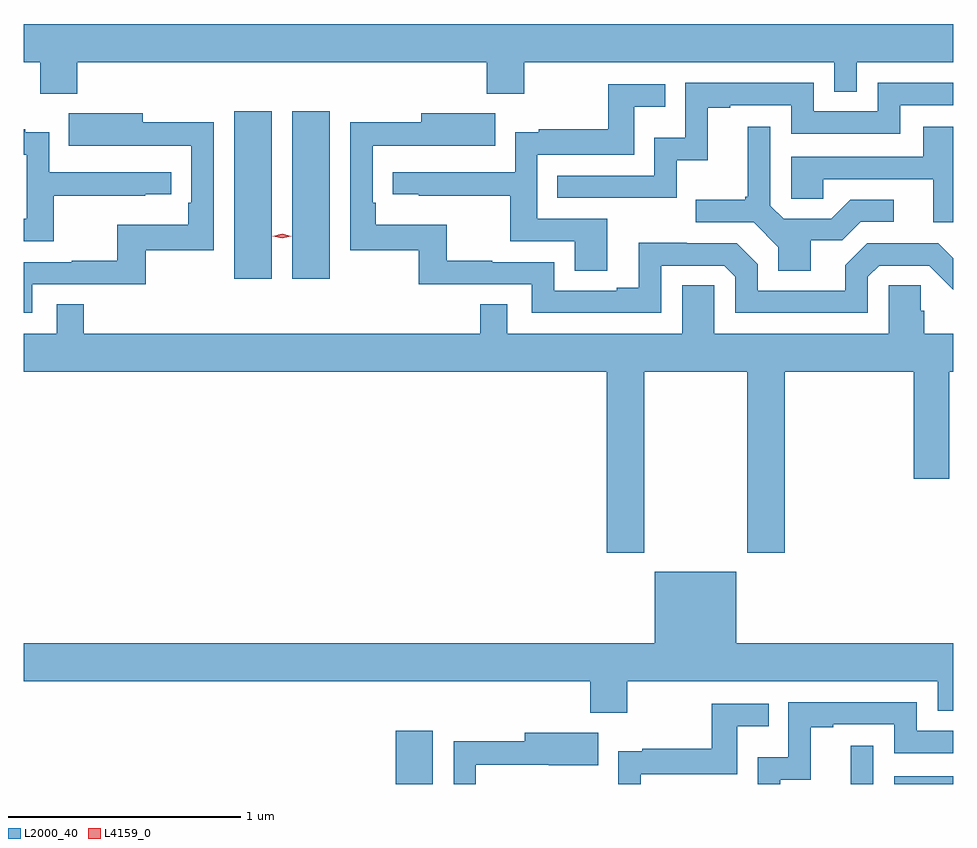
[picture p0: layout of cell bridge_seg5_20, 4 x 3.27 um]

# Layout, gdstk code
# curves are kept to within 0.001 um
import gdstk
lib = gdstk.Library(unit=1e-6, precision=1e-09)
def R(c, l, rs):  # rectangles x0, y0, x1, y1
    for r in rs: c.add(gdstk.rectangle(r[:2], r[2:], *l))
def P(c, l, *ps):  # polygons
    for p in ps: c.add(gdstk.Polygon(p, *l))
L2000_40 = (2000, 40)
L4159_0 = (4159, 0)

bridge_seg5_20 = lib.new_cell('bridge_seg5_20')
R(bridge_seg5_20, L2000_40, [(1109.078,882.959,1109.239,883.189), (1111.037,882.959,1111.134,883.123), (1111.224,882.959,1111.478,882.993), (1108.385,885.132,1108.546,885.853), (1108.634,885.132,1108.795,885.853)])
P(bridge_seg5_20, L2000_40, [(1107.71,886.064),(1109.471,886.064),(1109.471,885.929),(1109.631,885.929),(1109.631,886.064),(1110.966,886.064),(1110.966,885.937),(1111.062,885.937),(1111.062,886.064),(1111.478,886.064),(1111.478,886.228),(1107.478,886.228),(1107.478,886.064),(1107.55,886.064),(1107.55,885.929),(1107.71,885.929)],
  [(1110.288,885.641),(1110.421,885.641),(1110.421,885.867),(1110.517,885.867),(1110.517,885.879),(1110.78,885.879),(1110.78,885.756),(1111.248,885.756),(1111.248,885.879),(1111.478,885.879),(1111.478,885.975),(1111.152,885.975),(1111.152,885.852),(1110.876,885.852),(1110.876,885.975),(1110.324,885.975),(1110.324,885.739),(1110.192,885.739),(1110.192,885.576),(1109.773,885.576),(1109.773,885.48),(1110.288,885.48)],
  [(1109.989,885.39),(1109.688,885.39),(1109.688,885.666),(1110.105,885.666),(1110.105,885.872),(1110.239,885.872),(1110.239,885.969),(1109.994,885.969),(1109.994,885.775),(1109.695,885.775),(1109.695,885.763),(1109.592,885.763),(1109.592,885.591),(1109.067,885.591),(1109.067,885.495),(1109.179,885.495),(1109.179,885.49),(1109.572,885.49),(1109.572,885.294),(1109.849,885.294),(1109.849,885.166),(1109.989,885.166)],
  [(1107.516,885.108),(1108.003,885.108),(1108.003,885.255),(1108.296,885.255),(1108.296,885.806),(1107.991,885.806),(1107.991,885.844),(1107.673,885.844),(1107.673,885.704),(1107.887,885.704),(1107.887,885.705),(1108.2,885.705),(1108.2,885.46),(1108.187,885.46),(1108.187,885.364),(1107.882,885.364),(1107.882,885.209),(1107.685,885.209),(1107.685,885.204),(1107.478,885.204),(1107.478,884.985),(1107.516,884.985)],
  [(1110.222,885.189),(1110.492,885.189),(1110.54,885.141),(1110.54,884.985),(1111.11,884.985),(1111.11,885.141),(1111.158,885.189),(1111.374,885.189),(1111.478,885.085),(1111.478,885.22),(1111.413,885.285),(1111.107,885.285),(1111.013,885.191),(1111.013,885.081),(1110.636,885.081),(1110.636,885.195),(1110.546,885.285),(1110.33,885.285),(1110.33,885.287),(1110.125,885.287),(1110.125,885.094),(1110.029,885.094),(1110.029,885.081),(1109.76,885.081),(1109.76,885.204),(1109.495,885.204),(1109.495,885.209),(1109.299,885.209),(1109.299,885.364),(1108.994,885.364),(1108.994,885.46),(1108.98,885.46),(1108.98,885.705),(1109.507,885.704),(1109.507,885.844),(1109.189,885.844),(1109.189,885.806),(1108.884,885.806),(1108.884,885.255),(1109.178,885.255),(1109.178,885.108),(1109.664,885.108),(1109.664,884.985),(1110.222,884.985)],
  [(1110.865,885.298),(1111,885.298),(1111.08,885.378),(1111.222,885.378),(1111.222,885.471),(1111.034,885.471),(1110.953,885.39),(1110.747,885.39),(1110.69,885.447),(1110.69,885.787),(1110.593,885.787),(1110.593,885.484),(1110.582,885.484),(1110.582,885.472),(1110.369,885.472),(1110.369,885.375),(1110.618,885.375),(1110.725,885.268),(1110.725,885.166),(1110.865,885.166)],
  [(1111.478,885.787),(1111.349,885.787),(1111.349,885.657),(1110.78,885.657),(1110.78,885.477),(1110.917,885.477),(1110.917,885.561),(1111.391,885.561),(1111.391,885.375),(1111.478,885.375)],
  [(1107.608,885.49),(1108.001,885.49),(1108.001,885.495),(1108.114,885.495),(1108.114,885.591),(1107.588,885.591),(1107.588,885.763),(1107.485,885.763),(1107.485,885.775),(1107.478,885.775),(1107.478,885.666),(1107.492,885.666),(1107.492,885.39),(1107.478,885.39),(1107.478,885.294),(1107.608,885.294)],
  [(1109.443,885.023),(1109.443,884.896),(1107.737,884.896),(1107.737,885.023),(1107.621,885.023),(1107.621,884.896),(1107.478,884.896),(1107.478,884.732),(1109.987,884.732),(1109.987,883.953),(1110.147,883.953),(1110.147,884.732),(1110.592,884.732),(1110.592,883.953),(1110.752,883.953),(1110.752,884.732),(1111.307,884.732),(1111.307,884.271),(1111.459,884.271),(1111.459,884.732),(1111.478,884.732),(1111.478,884.896),(1111.352,884.896),(1111.352,884.994),(1111.337,884.994),(1111.337,885.104),(1111.2,885.104),(1111.2,884.896),(1110.45,884.896),(1110.45,885.104),(1110.311,885.104),(1110.311,884.896),(1109.559,884.896),(1109.559,885.023)],
  [(1110.544,883.873),(1110.194,883.873),(1110.194,883.564),(1107.478,883.564),(1107.478,883.4),(1109.915,883.4),(1109.915,883.265),(1110.075,883.265),(1110.075,883.4),(1111.41,883.4),(1111.41,883.273),(1111.478,883.273),(1111.478,883.564),(1110.544,883.564)],
  [(1110.732,882.977),(1110.865,882.977),(1110.865,883.203),(1110.961,883.203),(1110.961,883.215),(1111.224,883.215),(1111.224,883.092),(1111.478,883.092),(1111.478,883.188),(1111.32,883.188),(1111.32,883.311),(1110.768,883.311),(1110.768,883.075),(1110.636,883.075),(1110.636,882.959),(1110.732,882.959)],
  [(1110.132,883.002),(1110.549,883.002),(1110.549,883.208),(1110.683,883.208),(1110.683,883.305),(1110.438,883.305),(1110.438,883.111),(1110.139,883.111),(1110.139,883.099),(1110.036,883.099),(1110.036,882.959),(1110.132,882.959)],
  [(1109.424,883.041),(1109.737,883.041),(1109.737,883.04),(1109.951,883.04),(1109.951,883.18),(1109.633,883.18),(1109.633,883.142),(1109.328,883.142),(1109.328,882.959),(1109.424,882.959)])
P(bridge_seg5_20, L4159_0, [(1108.59,885.306),(1108.55,885.316),(1108.55,885.316),(1108.55,885.316),(1108.59,885.326),(1108.63,885.316),(1108.63,885.316),(1108.63,885.316)])

lib.write_gds('bridge_seg5_20.gds')
